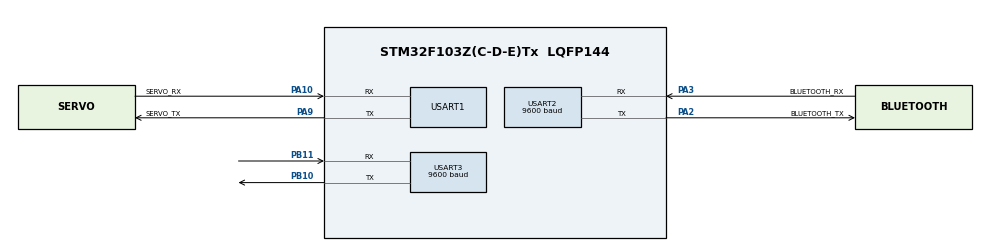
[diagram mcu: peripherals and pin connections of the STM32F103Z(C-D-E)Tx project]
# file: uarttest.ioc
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Mcu.Family=STM32F1
Mcu.Name=STM32F103Z(C-D-E)Tx
Mcu.Package=LQFP144
NVIC.PriorityGroup=NVIC_PRIORITYGROUP_4
NVIC.USART1_IRQn=true\:0\:0\:false\:false\:true\:true\:true\:true
NVIC.USART2_IRQn=true\:0\:0\:false\:false\:true\:true\:true\:true
NVIC.USART3_IRQn=true\:0\:0\:false\:false\:true\:true\:true\:true
OSC_IN.Mode=HSE-External-Oscillator
OSC_IN.Signal=RCC_OSC_IN
OSC_OUT.Mode=HSE-External-Oscillator
OSC_OUT.Signal=RCC_OSC_OUT
PA10.GPIO_Label=SERVO_RX
PA10.Mode=Asynchronous
PA10.Signal=USART1_RX
PA13.Mode=Serial_Wire
PA13.Signal=SYS_JTMS-SWDIO
PA14.Mode=Serial_Wire
PA14.Signal=SYS_JTCK-SWCLK
PA2.GPIO_Label=BLUETOOTH_TX
PA2.Mode=Asynchronous
PA2.Signal=USART2_TX
PA3.GPIO_Label=BLUETOOTH_RX
PA3.Mode=Asynchronous
PA3.Signal=USART2_RX
PA9.GPIO_Label=SERVO_TX
PA9.Mode=Asynchronous
PA9.Signal=USART1_TX
PB10.Mode=Asynchronous
PB10.Signal=USART3_TX
PB11.Mode=Asynchronous
PB11.Signal=USART3_RX
ProjectManager.HeapSize=0x200
ProjectManager.StackSize=0x400
ProjectManager.TargetToolchain=STM32CubeIDE
RCC.APB1Freq_Value=8000000
RCC.APB2Freq_Value=8000000
USART1.VirtualMode=VM_ASYNC
USART2.BaudRate=9600
USART2.VirtualMode=VM_ASYNC
USART3.BaudRate=9600
USART3.VirtualMode=VM_ASYNC
board=custom

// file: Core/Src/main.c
/* USER CODE BEGIN Header */
/**
  ******************************************************************************
  * @file           : main.c
  * @brief          : Main program body
  ******************************************************************************
  * @attention
  *
  * Copyright (c) 2022 STMicroelectronics.
  * All rights reserved.
  *
  * This software is licensed under terms that can be found in the LICENSE file
  * in the root directory of this software component.
  * If no LICENSE file comes with this software, it is provided AS-IS.
  *
  ******************************************************************************
  */
//
#include "Servo.h"
#include <stdio.h>
#include <stdarg.h>
/* USER CODE END Header */
#include "main.h"
#include "movementTable.h"

UART_HandleTypeDef huart1;
UART_HandleTypeDef BLUETOOTH_UART;
UART_HandleTypeDef SERVO_UART;
/* USER CODE BEGIN PV */
extern char BLUETOOH_RX_BUF[400];
extern char SERVO_RX_BUF[400];
extern char CMD_ARG_BUF[100];
extern uint16_t CMD_FLAG;
/* USER CODE END PV */

void SystemClock_Config(void);
static void MX_GPIO_Init(void);
static void MX_USART1_UART_Init(void);
static void MX_USART2_UART_Init(void);
static void MX_USART3_UART_Init(void);

int main(void)
{

  /* MCU Configuration--------------------------------------------------------*/

  /* Reset of all peripherals, Initializes the Flash interface and the Systick. */
  HAL_Init();

  /* Configure the system clock */
  SystemClock_Config();

  /* Initialize all configured peripherals */
  MX_GPIO_Init();
  MX_USART1_UART_Init();
  MX_USART2_UART_Init();
  MX_USART3_UART_Init();

  /* USER CODE BEGIN 2 */
    char * initInfo = "Stm init......\n\0";
    char * cmd_test = "CMD_TEST:Connect success!\n\0";
    HAL_UART_Transmit(&BLUETOOTH_UART,initInfo,16,HAL_MAX_DELAY);
    __HAL_UART_CLEAR_IDLEFLAG(&SERVO_UART);
    __HAL_UART_ENABLE_IT(&SERVO_UART, UART_IT_IDLE | UART_IT_RXNE);
    HAL_UART_Receive_IT(&SERVO_UART, (uint8_t *)SERVO_RX_BUF, 100);
    __HAL_UART_CLEAR_IDLEFLAG(&BLUETOOTH_UART);
    __HAL_UART_ENABLE_IT(&BLUETOOTH_UART, UART_IT_IDLE | UART_IT_RXNE);
    HAL_UART_Receive_IT(&BLUETOOTH_UART, (uint8_t *)BLUETOOH_RX_BUF, 100);

    Uart_Init(&SERVO_UART);
    CMD_FLAG = '0';

  /* USER CODE END 2 */
    /* USER CODE BEGIN WHILE */
    /* Infinite loop */
        while (1){
            //movement_highlifting_forward();
            //movement_turn_left();
            //movement_rotate_left();
            switch (CMD_FLAG) {
                case '1':
                    movement_highlifting_forward();
                    break;
                case '2':
                    movement_turn_left();
                    break;
                case '3':
                    movement_rotate_left();
                    break;
                case '4':
                    movement_normal_forward();
                    break;
                default:break;
            }
        }

    /* USER CODE END WHILE */

}

void SystemClock_Config(void)
{
  RCC_OscInitTypeDef RCC_OscInitStruct = {0};
  RCC_ClkInitTypeDef RCC_ClkInitStruct = {0};

  /** Initializes the RCC Oscillators according to the specified parameters
  * in the RCC_OscInitTypeDef structure.
  */
  RCC_OscInitStruct.OscillatorType = RCC_OSCILLATORTYPE_HSI;
  RCC_OscInitStruct.HSIState = RCC_HSI_ON;
  RCC_OscInitStruct.HSICalibrationValue = RCC_HSICALIBRATION_DEFAULT;
  RCC_OscInitStruct.PLL.PLLState = RCC_PLL_NONE;
  if (HAL_RCC_OscConfig(&RCC_OscInitStruct) != HAL_OK)
  {
    Error_Handler();
  }

  /** Initializes the CPU, AHB and APB buses clocks
  */
  RCC_ClkInitStruct.ClockType = RCC_CLOCKTYPE_HCLK|RCC_CLOCKTYPE_SYSCLK
                              |RCC_CLOCKTYPE_PCLK1|RCC_CLOCKTYPE_PCLK2;
  RCC_ClkInitStruct.SYSCLKSource = RCC_SYSCLKSOURCE_HSI;
  RCC_ClkInitStruct.AHBCLKDivider = RCC_SYSCLK_DIV1;
  RCC_ClkInitStruct.APB1CLKDivider = RCC_HCLK_DIV1;
  RCC_ClkInitStruct.APB2CLKDivider = RCC_HCLK_DIV1;

  if (HAL_RCC_ClockConfig(&RCC_ClkInitStruct, FLASH_LATENCY_0) != HAL_OK)
  {
    Error_Handler();
  }
}

static void MX_USART1_UART_Init(void)
{

  huart1.Instance = USART1;
  huart1.Init.BaudRate = 9600;
  huart1.Init.WordLength = UART_WORDLENGTH_8B;
  huart1.Init.StopBits = UART_STOPBITS_1;
  huart1.Init.Parity = UART_PARITY_NONE;
  huart1.Init.Mode = UART_MODE_TX_RX;
  huart1.Init.HwFlowCtl = UART_HWCONTROL_NONE;
  huart1.Init.OverSampling = UART_OVERSAMPLING_16;
  if (HAL_UART_Init(&huart1) != HAL_OK)
  {
    Error_Handler();
  }

}

static void MX_USART2_UART_Init(void)
{

  BLUETOOTH_UART.Instance = USART2;
  BLUETOOTH_UART.Init.BaudRate = 9600;
  BLUETOOTH_UART.Init.WordLength = UART_WORDLENGTH_8B;
  BLUETOOTH_UART.Init.StopBits = UART_STOPBITS_1;
  BLUETOOTH_UART.Init.Parity = UART_PARITY_NONE;
  BLUETOOTH_UART.Init.Mode = UART_MODE_TX_RX;
  BLUETOOTH_UART.Init.HwFlowCtl = UART_HWCONTROL_NONE;
  BLUETOOTH_UART.Init.OverSampling = UART_OVERSAMPLING_16;
  if (HAL_UART_Init(&BLUETOOTH_UART) != HAL_OK)
  {
    Error_Handler();
  }

}

static void MX_USART3_UART_Init(void)
{

  SERVO_UART.Instance = USART3;
  SERVO_UART.Init.BaudRate = 9600;
  SERVO_UART.Init.WordLength = UART_WORDLENGTH_8B;
  SERVO_UART.Init.StopBits = UART_STOPBITS_1;
  SERVO_UART.Init.Parity = UART_PARITY_NONE;
  SERVO_UART.Init.Mode = UART_MODE_TX_RX;
  SERVO_UART.Init.HwFlowCtl = UART_HWCONTROL_NONE;
  SERVO_UART.Init.OverSampling = UART_OVERSAMPLING_16;
  if (HAL_UART_Init(&SERVO_UART) != HAL_OK)
  {
    Error_Handler();
  }

}

static void MX_GPIO_Init(void)
{

  /* GPIO Ports Clock Enable */
  __HAL_RCC_GPIOA_CLK_ENABLE();
  __HAL_RCC_GPIOB_CLK_ENABLE();

}

void Error_Handler(void)
{
  __disable_irq();
  while (1)
  {
  }
}
